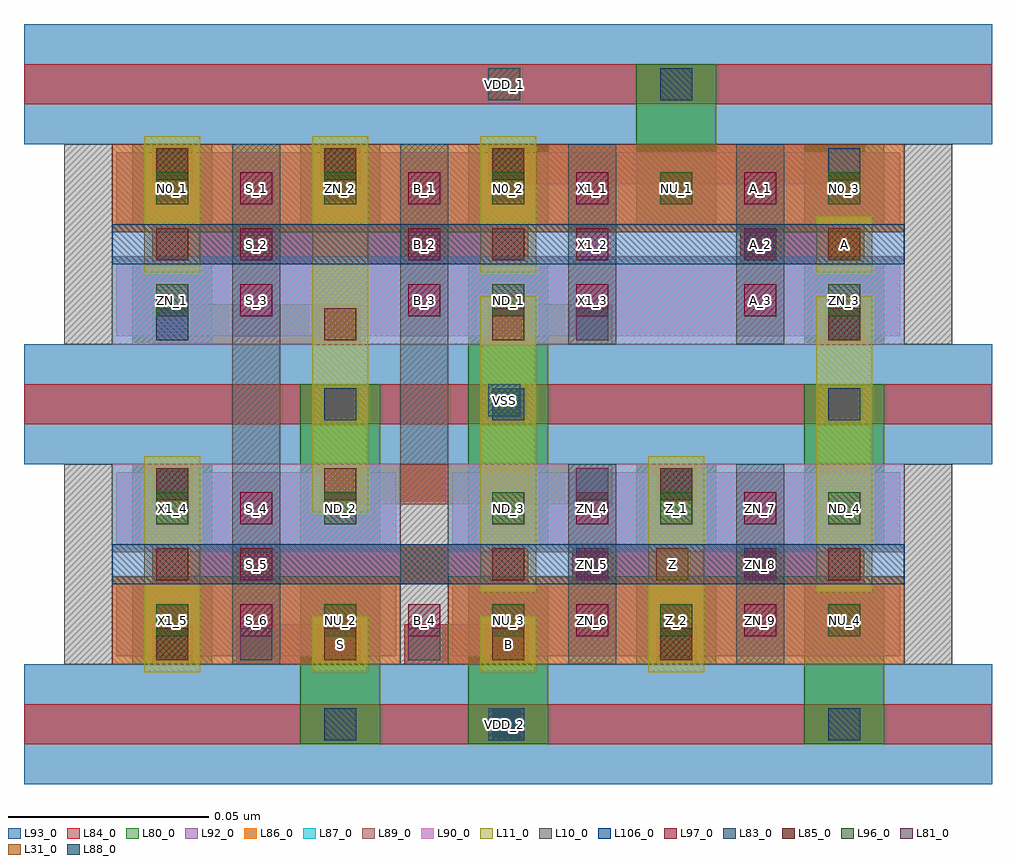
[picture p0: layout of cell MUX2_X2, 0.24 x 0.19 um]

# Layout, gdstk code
import gdstk
lib = gdstk.Library(unit=1e-6, precision=1e-09)
def R(c, l, rs):  # rectangles x0, y0, x1, y1
    for r in rs: c.add(gdstk.rectangle(r[:2], r[2:], *l))
def A(c, l, x, y, w, h, nx, ny, dx, dy):  # array of equal rectangles
    R(c, l, [(x+i*dx, y+j*dy, x+i*dx+w, y+j*dy+h) for i in range(nx) for j in range(ny)])
L10_0 = (10, 0)
L11_0 = (11, 0)
L31_0 = (31, 0)
L80_0 = (80, 0)
L81_0 = (81, 0)
L83_0 = (83, 0)
L84_0 = (84, 0)
L85_0 = (85, 0)
L86_0 = (86, 0)
L87_0 = (87, 0)
L88_0 = (88, 0)
L89_0 = (89, 0)
L90_0 = (90, 0)
L92_0 = (92, 0)
L93_0 = (93, 0)
L96_0 = (96, 0)
L97_0 = (97, 0)
L106_0 = (106, 0)

mux2_x2 = lib.new_cell('MUX2_X2')
A(mux2_x2, L10_0, 0.099, -0.065, 0.012, 0.05, 3, 2, 0.042, 0.08)
R(mux2_x2, L10_0, [(-0.027,-0.065,-0.015,-0.015), (0.015,-0.065,0.027,0.065), (0.057,-0.065,0.069,0.065), (-0.027,0.015,-0.015,0.065)])
A(mux2_x2, L11_0, 0.077, -0.047, 0.014, 0.034, 3, 1, 0.042, 0)
A(mux2_x2, L11_0, 0.035, -0.027, 0.014, 0.034, 1, 3, 0, 0.02)
A(mux2_x2, L11_0, -0.007, 0.033, 0.014, 0.034, 3, 1, 0.042, 0)
R(mux2_x2, L11_0, [(-0.007,-0.067,0.007,-0.033), (0.035,-0.067,0.049,-0.053), (0.077,-0.067,0.091,-0.053), (0.119,-0.067,0.133,-0.033), (-0.007,-0.047,0.007,-0.013), (0.077,-0.027,0.091,0.007), (0.161,-0.027,0.175,0.007), (0.077,-0.007,0.091,0.027), (0.161,-0.007,0.175,0.027), (0.161,0.033,0.175,0.047)])
R(mux2_x2, L31_0, [(0.038,-0.064,0.046,-0.056), (0.08,-0.064,0.088,-0.056), (0.121,-0.044,0.129,-0.036), (0.164,0.036,0.172,0.044)])
A(mux2_x2, L80_0, -0.01, -0.065, 0.02, 0.02, 5, 1, 0.042, 0)
A(mux2_x2, L80_0, -0.01, 0.015, 0.02, 0.02, 3, 1, 0.084, 0)
R(mux2_x2, L80_0, [(0.032,-0.085,0.052,-0.064), (0.074,-0.085,0.094,-0.064), (0.158,-0.085,0.178,-0.064), (-0.01,-0.035,0.01,-0.015), (-0.01,-0.035,0.01,-0.015), (0.032,-0.035,0.052,-0.015), (0.032,-0.035,0.052,-0.015), (0.074,-0.035,0.094,-0.015), (0.074,-0.035,0.094,-0.015), (0.116,-0.035,0.136,-0.015), (0.116,-0.035,0.136,-0.015), (0.158,-0.035,0.178,-0.015), (0.158,-0.035,0.178,-0.015), (0.032,-0.024,0.052,0.005), (0.074,-0.024,0.094,0.005), (0.158,-0.024,0.178,0.005), (0.074,-0.005,0.094,0.016), (-0.01,0.045,0.01,0.065), (-0.01,0.045,0.01,0.065), (0.032,0.045,0.052,0.065), (0.032,0.045,0.052,0.065), (0.074,0.045,0.094,0.065), (0.074,0.045,0.094,0.065), (0.116,0.045,0.136,0.065), (0.116,0.045,0.136,0.065), (0.158,0.045,0.178,0.065), (0.158,0.045,0.178,0.065), (0.116,0.056,0.136,0.085)])
R(mux2_x2, L81_0, [(0.017,-0.064,0.025,-0.056), (0.059,-0.064,0.067,-0.056), (0.101,-0.044,0.109,-0.036), (0.143,-0.044,0.151,-0.036), (0.101,-0.024,0.109,-0.016), (0.101,0.016,0.109,0.024), (0.143,0.036,0.151,0.044)])
A(mux2_x2, L83_0, -0.004, -0.064, 0.008, 0.008, 1, 4, 0, 0.04)
A(mux2_x2, L83_0, -0.004, 0.056, 0.008, 0.008, 3, 1, 0.042, 0)
R(mux2_x2, L83_0, [(0.038,-0.084,0.046,-0.076), (0.08,-0.084,0.088,-0.076), (0.164,-0.084,0.172,-0.076), (0.122,-0.064,0.13,-0.056), (0.122,-0.024,0.13,-0.016), (0.038,-0.004,0.046,0.004), (0.08,-0.004,0.088,0.004), (0.08,-0.004,0.088,0.004), (0.164,-0.004,0.172,0.004), (0.164,0.016,0.172,0.024), (-0.004,0.056,0.004,0.064), (-0.004,0.056,0.004,0.064), (0.164,0.056,0.172,0.064), (0.122,0.076,0.13,0.084)])
A(mux2_x2, L84_0, -0.037, -0.085, 0.242, 0.01, 1, 3, 0, 0.08)
A(mux2_x2, L84_0, -0.005, -0.045, 0.031, 0.01, 4, 2, 0.021, 0.08)
A(mux2_x2, L84_0, 0.1, -0.045, 0.031, 0.01, 3, 1, 0.021, 0)
A(mux2_x2, L84_0, 0.037, -0.025, 0.031, 0.01, 3, 1, 0.021, 0)
A(mux2_x2, L84_0, 0.079, 0.055, 0.031, 0.01, 4, 1, 0.021, 0)
R(mux2_x2, L84_0, [(-0.005,-0.065,0.005,-0.055), (0.016,-0.065,0.047,-0.055), (0.058,-0.065,0.089,-0.055), (0.121,-0.065,0.131,-0.055), (-0.005,-0.025,0.005,-0.015), (0.121,-0.025,0.131,-0.015), (-0.005,0.015,0.026,0.025), (0.016,0.015,0.047,0.025), (0.079,0.015,0.11,0.025), (0.163,0.015,0.173,0.025), (0.142,0.035,0.173,0.045), (-0.005,0.055,0.005,0.065), (0.037,0.055,0.047,0.065)])
A(mux2_x2, L85_0, -0.004, -0.064, 0.008, 0.008, 4, 1, 0.042, 0)
A(mux2_x2, L85_0, -0.004, -0.044, 0.008, 0.008, 3, 2, 0.084, 0.08)
A(mux2_x2, L85_0, -0.004, 0.056, 0.008, 0.008, 3, 1, 0.042, 0)
R(mux2_x2, L85_0, [(-0.004,-0.024,0.004,-0.016), (0.038,-0.024,0.046,-0.016), (0.122,-0.024,0.13,-0.016), (0.038,0.016,0.046,0.024), (0.08,0.016,0.088,0.024), (0.164,0.016,0.172,0.024)])
R(mux2_x2, L86_0, [(-0.015,-0.065,0.057,-0.043), (0.069,-0.065,0.183,-0.043), (-0.015,0.043,0.183,0.065)])
R(mux2_x2, L87_0, [(-0.015,-0.037,0.057,-0.015), (0.069,-0.037,0.183,-0.015), (-0.015,0.015,0.183,0.037)])
R(mux2_x2, L88_0, [(0.079,-0.084,0.087,-0.076), (0.079,-0.003,0.087,0.005), (0.079,0.076,0.087,0.084)])
R(mux2_x2, L89_0, [(-0.015,-0.065,0.057,-0.043), (0.069,-0.065,0.183,-0.043), (-0.015,0.043,0.183,0.065)])
R(mux2_x2, L90_0, [(-0.015,-0.037,0.057,-0.015), (0.069,-0.037,0.183,-0.015), (-0.015,0.015,0.183,0.037)])
R(mux2_x2, L92_0, [(-0.014,-0.063,0.056,-0.045), (0.07,-0.063,0.182,-0.045), (-0.014,-0.035,0.056,-0.017), (0.07,-0.035,0.182,-0.017), (-0.014,0.017,0.182,0.035), (-0.014,0.045,0.182,0.063)])
A(mux2_x2, L93_0, -0.037, -0.095, 0.242, 0.03, 1, 3, 0, 0.08)
A(mux2_x2, L96_0, -0.004, -0.058, 0.008, 0.008, 5, 2, 0.042, 0.028)
A(mux2_x2, L96_0, -0.004, 0.022, 0.008, 0.008, 3, 1, 0.084, 0)
A(mux2_x2, L96_0, -0.004, 0.05, 0.008, 0.008, 5, 1, 0.042, 0)
A(mux2_x2, L97_0, 0.017, -0.058, 0.008, 0.008, 4, 2, 0.042, 0.08)
A(mux2_x2, L97_0, 0.017, 0.036, 0.008, 0.008, 4, 2, 0.042, 0.014)
R(mux2_x2, L97_0, [(0.017,-0.044,0.025,-0.036), (0.101,-0.044,0.109,-0.036), (0.143,-0.044,0.151,-0.036), (0.017,-0.03,0.025,-0.022), (0.101,-0.03,0.109,-0.022), (0.143,-0.03,0.151,-0.022)])
R(mux2_x2, L106_0, [(-0.015,-0.045,0.183,-0.035), (-0.015,0.035,0.183,0.045)])
mux2_x2.add(gdstk.Label('VSS', (0.083,0.001), layer=88, texttype=0))
mux2_x2.add(gdstk.Label('VDD_2', (0.083,-0.08), layer=88, texttype=0))
mux2_x2.add(gdstk.Label('VDD_1', (0.083,0.08), layer=88, texttype=0))
mux2_x2.add(gdstk.Label('A', (0.168,0.04), layer=31, texttype=0))
mux2_x2.add(gdstk.Label('B', (0.084,-0.06), layer=31, texttype=0))
mux2_x2.add(gdstk.Label('Z', (0.125,-0.04), layer=31, texttype=0))
mux2_x2.add(gdstk.Label('S', (0.042,-0.06), layer=31, texttype=0))
mux2_x2.add(gdstk.Label('Z_2', (0.126,-0.054), layer=96, texttype=0))
mux2_x2.add(gdstk.Label('Z_1', (0.126,-0.026), layer=96, texttype=0))
mux2_x2.add(gdstk.Label('ND_4', (0.168,-0.026), layer=96, texttype=0))
mux2_x2.add(gdstk.Label('NU_4', (0.168,-0.054), layer=96, texttype=0))
mux2_x2.add(gdstk.Label('ND_3', (0.084,-0.026), layer=96, texttype=0))
mux2_x2.add(gdstk.Label('NU_3', (0.084,-0.054), layer=96, texttype=0))
mux2_x2.add(gdstk.Label('NU_2', (0.042,-0.054), layer=96, texttype=0))
mux2_x2.add(gdstk.Label('ND_2', (0.042,-0.026), layer=96, texttype=0))
mux2_x2.add(gdstk.Label('X1_5', (0,-0.054), layer=96, texttype=0))
mux2_x2.add(gdstk.Label('X1_4', (0,-0.026), layer=96, texttype=0))
mux2_x2.add(gdstk.Label('N0_1', (0,0.054), layer=96, texttype=0))
mux2_x2.add(gdstk.Label('ZN_1', (0,0.026), layer=96, texttype=0))
mux2_x2.add(gdstk.Label('ZN_2', (0.042,0.054), layer=96, texttype=0))
mux2_x2.add(gdstk.Label('ND_1', (0.084,0.026), layer=96, texttype=0))
mux2_x2.add(gdstk.Label('N0_2', (0.084,0.054), layer=96, texttype=0))
mux2_x2.add(gdstk.Label('ZN_3', (0.168,0.026), layer=96, texttype=0))
mux2_x2.add(gdstk.Label('N0_3', (0.168,0.054), layer=96, texttype=0))
mux2_x2.add(gdstk.Label('NU_1', (0.126,0.054), layer=96, texttype=0))
mux2_x2.add(gdstk.Label('B_4', (0.063,-0.054), layer=97, texttype=0))
mux2_x2.add(gdstk.Label('ZN_9', (0.147,-0.054), layer=97, texttype=0))
mux2_x2.add(gdstk.Label('ZN_7', (0.147,-0.026), layer=97, texttype=0))
mux2_x2.add(gdstk.Label('ZN_8', (0.147,-0.04), layer=97, texttype=0))
mux2_x2.add(gdstk.Label('ZN_5', (0.105,-0.04), layer=97, texttype=0))
mux2_x2.add(gdstk.Label('ZN_4', (0.105,-0.026), layer=97, texttype=0))
mux2_x2.add(gdstk.Label('ZN_6', (0.105,-0.054), layer=97, texttype=0))
mux2_x2.add(gdstk.Label('S_5', (0.021,-0.04), layer=97, texttype=0))
mux2_x2.add(gdstk.Label('S_4', (0.021,-0.026), layer=97, texttype=0))
mux2_x2.add(gdstk.Label('S_6', (0.021,-0.054), layer=97, texttype=0))
mux2_x2.add(gdstk.Label('S_3', (0.021,0.026), layer=97, texttype=0))
mux2_x2.add(gdstk.Label('S_1', (0.021,0.054), layer=97, texttype=0))
mux2_x2.add(gdstk.Label('S_2', (0.021,0.04), layer=97, texttype=0))
mux2_x2.add(gdstk.Label('B_3', (0.063,0.026), layer=97, texttype=0))
mux2_x2.add(gdstk.Label('B_1', (0.063,0.054), layer=97, texttype=0))
mux2_x2.add(gdstk.Label('B_2', (0.063,0.04), layer=97, texttype=0))
mux2_x2.add(gdstk.Label('X1_2', (0.105,0.04), layer=97, texttype=0))
mux2_x2.add(gdstk.Label('X1_1', (0.105,0.054), layer=97, texttype=0))
mux2_x2.add(gdstk.Label('X1_3', (0.105,0.026), layer=97, texttype=0))
mux2_x2.add(gdstk.Label('A_2', (0.147,0.04), layer=97, texttype=0))
mux2_x2.add(gdstk.Label('A_1', (0.147,0.054), layer=97, texttype=0))
mux2_x2.add(gdstk.Label('A_3', (0.147,0.026), layer=97, texttype=0))

lib.write_gds('MUX2_X2.gds')
